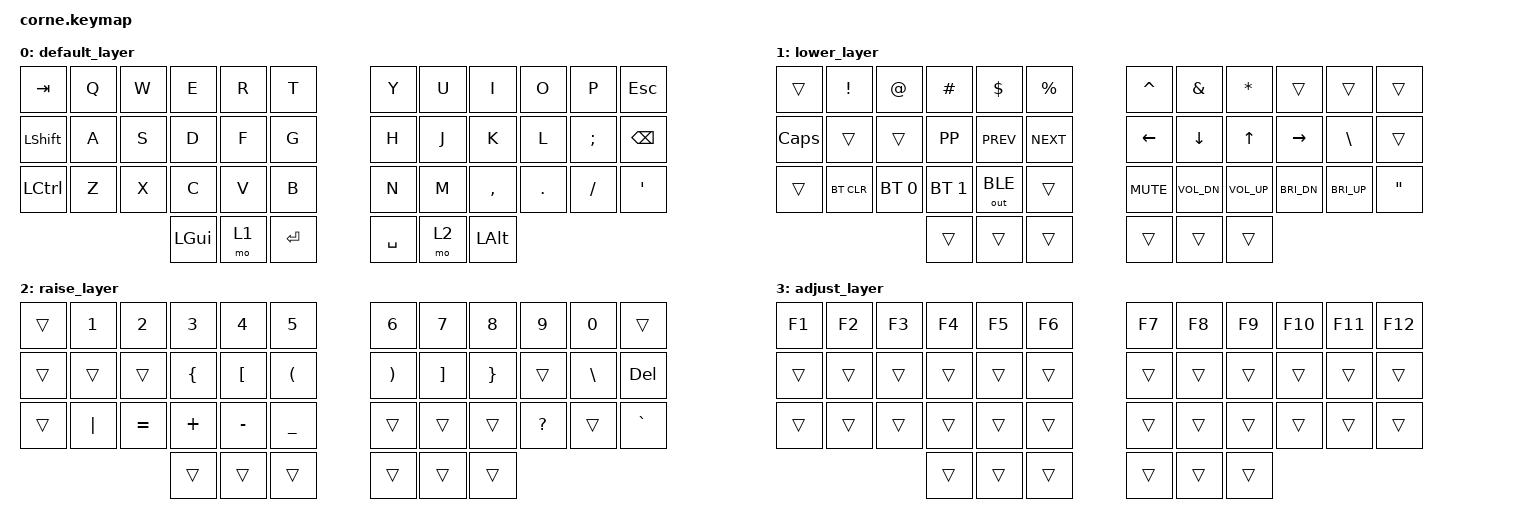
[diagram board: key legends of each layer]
/*
 * Copyright (c) 2020 The ZMK Contributors
 *
 * SPDX-License-Identifier: MIT
 */

#include <behaviors.dtsi>
#include <dt-bindings/zmk/keys.h>
#include <dt-bindings/zmk/bt.h>
#include <dt-bindings/zmk/outputs.h>

/ {
    conditional_layers {
        compatible = "zmk,conditional-layers";
        tri_layer {
            if-layers = <1 2>;
            then-layer = <3>;
        };
    };
        keymap {
                compatible = "zmk,keymap";

                default_layer {
// -----------------------------------------------------------------------------------------
// |  TAB |  Q  |  W  |  E  |  R  |  T  |   |  Y  |  U   |  I  |  O  |  P  | ESC |
// | SHFT |  A  |  S  |  D  |  F  |  G  |   |  H  |  J   |  K  |  L  |  ;  | BKSP|
// | CTRL |  Z  |  X  |  C  |  V  |  B  |   |  N  |  M   |  ,  |  .  |  /  |  '  |
//                    | GUI | LWR | ENT |   | SPC | RSE  | ALT |
                        bindings = <
   &kp TAB   &kp Q &kp W &kp E &kp R &kp T   &kp Y &kp U  &kp I     &kp O   &kp P    &kp ESC 
   &kp LSHFT &kp A &kp S &kp D &kp F &kp G   &kp H &kp J  &kp K     &kp L   &kp SEMI &kp BSPC
   &kp LCTRL &kp Z &kp X &kp C &kp V &kp B   &kp N &kp M  &kp COMMA &kp DOT &kp FSLH &kp SQT 
                      &kp LGUI &mo 1 &kp RET     &kp SPACE &mo 2 &kp LALT
                        >;
                };
                lower_layer {
// -----------------------------------------------------------------------------------------
// |  TAB |  !  |  @  |  #  |  $  |  %  |   |  ^  |  &  |  *  |     |     |      |
// | CAPSL|     |     | PLAY| NEXT| PREV|   | LFT | DWN |  UP | RGT |  \  |  DEL |
// | CTRL |BTCT | BT1 | BT2 |OBL  |     |   |RMUTE|VDOWN| VUP |BDOWN| BUP |   "  |
//                    | GUI |     | ENT |   | SPC |     | ALT |
                        bindings = <
   &trans &kp EXCL &kp AT &kp HASH &kp DLLR &kp PRCNT   &kp CARET &kp AMPS  &kp ASTRK &trans &trans &trans
   &kp CAPSLOCK &trans       &trans       &kp K_PP     &kp K_PREV &kp K_NEXT &kp LEFT    &kp DOWN     &kp UP       &kp RIGHT    &kp BSLH     &trans
   &trans &bt BT_CLR  &bt BT_SEL 0 &bt BT_SEL 1 &out OUT_BLE &trans &kp K_MUTE  &kp K_VOL_DN &kp K_VOL_UP &kp C_BRI_DN &kp C_BRI_UP  &kp DQT 
                             &trans &trans &trans &trans &trans &trans
                        >;
                };

                raise_layer {
// -----------------------------------------------------------------------------------------
// |  TAB |  1  |  2  |  3  |  4  |  5  |   |  6  |  7  |  8  |  9  |  0  |      |
// | SHFT |     |     |  {  |  [  |  (  |   |  )  |  ]  |  }  |     |  \  | DEL  |
// | CTRL | "|" |  =  |  +  |  -  |  _  |   |     |     |     |     |     |  `   |
//                    | GUI |     | ENT |   | SPC |     | ALT | 
                        bindings = <
   &trans &kp N1       &kp N2       &kp N3     &kp N4   &kp N5   &kp N6      &kp N7       &kp N8       &kp N9       &kp N0       &trans
   &trans &trans  &trans &kp LBRC &kp LBKT &kp LPAR    &kp RPAR  &kp RBKT  &kp RBRC &trans &kp BSLH &kp DEL
   &trans &kp PIPE &kp EQUAL &kp PLUS &kp MINUS &kp UNDER &trans &trans &trans &kp QMARK &trans &kp GRAVE
                             &trans &trans &trans &trans &trans &trans
                        >;
                };

                adjust_layer {
// -----------------------------------------------------------------------------------------
// |  TAB |  1  |  2  |  3  |  4  |  5  |   |  6  |  7  |  8  |  9  |  0  |      |
// | SHFT |     |     |  {  |  [  |  (  |   |  )  |  ]  |  }  |     |  \  | DEL  |
// | CTRL | "|" |  =  |  +  |  -  |  _  |   |     |     |     |     |     |  `   |
//                    | GUI |     | ENT |   | SPC |     | ALT | 
                        bindings = <
   &kp F1       &kp F2       &kp F3     &kp F4   &kp F5   &kp F6      &kp F7       &kp F8       &kp F9       &kp F10      &kp F11      &kp F12       
   &trans &trans       &trans       &trans &trans &trans &trans &trans &trans &trans &trans &trans
   &trans &trans       &trans       &trans &trans &trans &trans &trans &trans &trans &trans &trans
                             &trans &trans &trans &trans &trans &trans
                        >;
                };
        };
};
